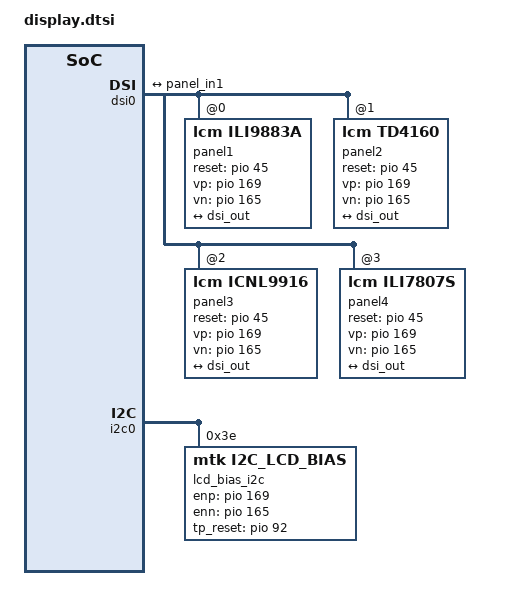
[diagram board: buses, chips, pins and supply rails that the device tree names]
&mtk_leds {
	compatible = "mediatek,disp-leds";
	backlight {
		label = "lcd-backlight";
		max-brightness = <2047>;
		max-hw-brightness = <2047>;
	};
};

&dsi0 {
	status = "okay";
	#address-cells = <1>;
	#size-cells = <0>;
    panel1@0 {
        compatible = "lcm,ili9883a";
        reg = <0>;
        reset-gpio = <&pio 45 0>;
        vp-gpio = <&pio 169 0>;
        vn-gpio = <&pio 165 0>;
        pinctrl-names = "default";
        port {
            panel_in1: endpoint {
                remote-endpoint = <&dsi_out>;
            };
        };
    };
    panel2@1 {
        compatible = "lcm,td4160";
        reg = <1>;
        reset-gpio = <&pio 45 0>;
        vp-gpio = <&pio 169 0>;
        vn-gpio = <&pio 165 0>;
        pinctrl-names = "default";
        port {
            panel_in2: endpoint {
                remote-endpoint = <&dsi_out>;
            };
        };
    };
    panel3@2 {
        compatible = "lcm,icnl9916";
        reg = <2>;
        reset-gpio = <&pio 45 0>;
        vp-gpio = <&pio 169 0>;
        vn-gpio = <&pio 165 0>;
        pinctrl-names = "default";
        port {
            panel_in3: endpoint {
                remote-endpoint = <&dsi_out>;
            };
        };
    };
    panel4@3 {
        compatible = "lcm,ili7807s";
        reg = <3>;
        reset-gpio = <&pio 45 0>;
        vp-gpio = <&pio 169 0>;
        vn-gpio = <&pio 165 0>;
        pinctrl-names = "default";
        port {
            panel_in4: endpoint {
                remote-endpoint = <&dsi_out>;
            };
        };
    };
    ports {
        port {
            dsi_out: endpoint {
                remote-endpoint = <&panel_in1>;
            };
        };
    };
};

&i2c0 {
	status = "okay";
	lcd_bias_i2c@3e {
		compatible = "mtk,i2c_lcd_bias";
		reg = <0x3e>;
		mtk,enp = <&pio 169 0>;
		mtk,enn = <&pio 165 0>;
		mtk,tp_reset = <&pio 92 0>;
		pinctrl-names = "lcd_enn_default", "lcd_enn_output_high",
				"lcd_enn_output_low", "lcd_enp_default",
				"lcd_enp_output_high", "lcd_enp_output_low",
				"tp_reset_default", "tp_reset_output_high",
				"tp_reset_output_low";
		pinctrl-0 = <&bias_enn_default>;
		pinctrl-1 = <&bias_enn_output_high>;
		pinctrl-2 = <&bias_enn_output_low>;
		pinctrl-3 = <&bias_enp_default>;
		pinctrl-4 = <&bias_enp_output_high>;
		pinctrl-5 = <&bias_enp_output_low>;
		pinctrl-6 = <&tp_pins_reset_default>;
		pinctrl-7 = <&tp_pins_reset_output_high>;
		pinctrl-8 = <&tp_pins_reset_output_low>;
	};
};

&pio {
	bias_enn_default: enn_default {
	};

	bias_enn_output_high: enn_output_high {
	pins_cmd_dat {
		pinmux = <PINMUX_GPIO165__FUNC_GPIO165>;
			slew-rate = <1>;
			output-high;
		 };
	 };

	bias_enn_output_low: enn_output_low {
		pins_cmd_dat {
			pinmux = <PINMUX_GPIO165__FUNC_GPIO165>;
			slew-rate = <1>;
			output-low;
		};
	};

	bias_enp_default: enp_default {
	};

	bias_enp_output_high: enp_output_high {
		pins_cmd_dat {
			pinmux = <PINMUX_GPIO169__FUNC_GPIO169>;
			slew-rate = <1>;
			output-high;
		};
	};

	bias_enp_output_low: bias_enp_output_low {
		pins_cmd_dat {
			pinmux = <PINMUX_GPIO169__FUNC_GPIO169>;
			slew-rate = <1>;
			output-low;
		};
	};

	tp_pins_reset_default: reset_default {
	};

	tp_pins_reset_output_high: reset_output_high {
		pins_cmd_dat {
			pinmux = <PINMUX_GPIO92__FUNC_GPIO92>;
			slew-rate = <1>;
			output-high;
		};
	};

	tp_pins_reset_output_low: reset_output_low {
		pins_cmd_dat {
			pinmux = <PINMUX_GPIO92__FUNC_GPIO92>;
			slew-rate = <1>;
			output-low;
		};
	};
};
